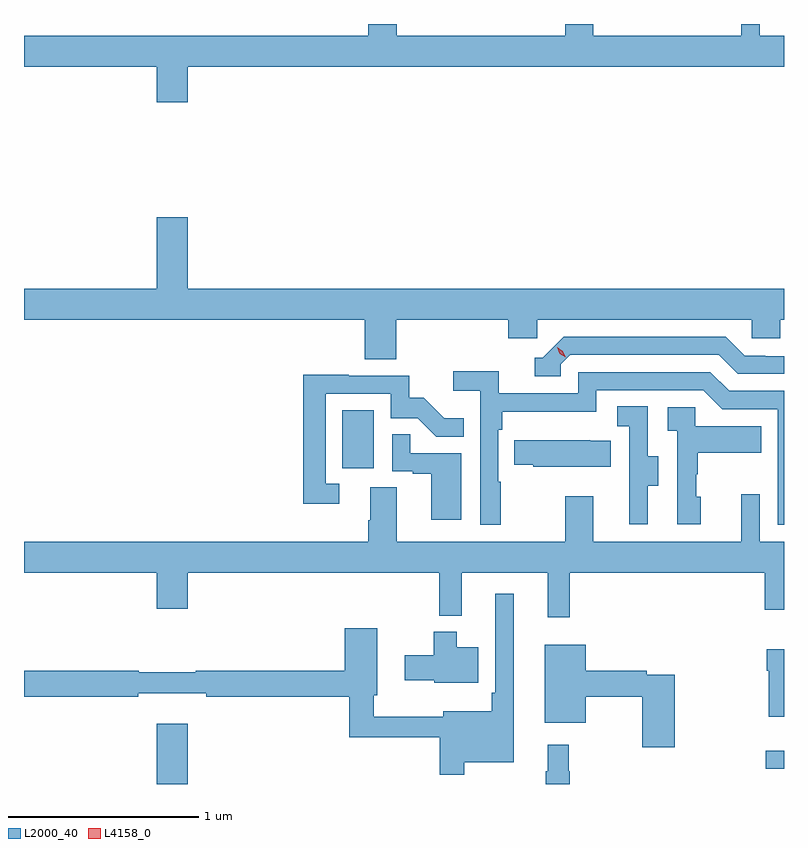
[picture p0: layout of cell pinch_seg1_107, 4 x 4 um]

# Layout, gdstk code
import gdstk
lib = gdstk.Library(unit=1e-6, precision=1e-09)
def R(c, l, rs):  # rectangles x0, y0, x1, y1
    for r in rs: c.add(gdstk.rectangle(r[:2], r[2:], *l))
def P(c, l, *ps):  # polygons
    for p in ps: c.add(gdstk.Polygon(p, *l))
L2000_40 = (2000, 40)
L4158_0 = (4158, 0)

pinch_seg1_107 = lib.new_cell('pinch_seg1_107')
R(pinch_seg1_107, L2000_40, [(1052.12,559.945,1052.284,560.263), (1055.325,560.024,1055.422,560.121), (1053.098,561.606,1053.262,561.913)])
P(pinch_seg1_107, L2000_40, [(1052.284,563.72),(1055.422,563.72),(1055.422,563.884),(1055.295,563.884),(1055.295,563.945),(1055.198,563.945),(1055.198,563.884),(1054.417,563.884),(1054.417,563.945),(1054.27,563.945),(1054.27,563.884),(1053.385,563.884),(1053.385,563.945),(1053.233,563.945),(1053.233,563.884),(1051.422,563.884),(1051.422,563.72),(1052.12,563.72),(1052.12,563.532),(1052.284,563.532)],
  [(1053.38,562.388),(1053.971,562.388),(1053.971,562.29),(1054.122,562.29),(1054.122,562.388),(1055.253,562.388),(1055.253,562.29),(1055.403,562.29),(1055.403,562.388),(1055.422,562.388),(1055.422,562.552),(1052.284,562.552),(1052.284,562.927),(1052.12,562.927),(1052.12,562.552),(1051.422,562.552),(1051.422,562.388),(1053.215,562.388),(1053.215,562.18),(1053.38,562.18)],
  [(1054.248,562.155),(1054.296,562.203),(1055.079,562.203),(1055.178,562.104),(1055.422,562.104),(1055.422,562.197),(1055.322,562.197),(1055.322,562.2),(1055.215,562.2),(1055.116,562.299),(1054.263,562.299),(1054.152,562.188),(1054.109,562.188),(1054.109,562.092),(1054.248,562.092)],
  [(1053.931,561.536),(1053.918,561.536),(1053.918,561.809),(1053.938,561.809),(1053.938,561.905),(1054.434,561.905),(1054.434,562.017),(1054.998,562.017),(1055.097,561.918),(1055.388,561.918),(1055.388,561.309),(1055.422,561.309),(1055.422,562.014),(1055.134,562.014),(1055.035,562.113),(1054.338,562.113),(1054.338,562.002),(1053.92,562.002),(1053.92,562.118),(1053.681,562.118),(1053.681,562.016),(1053.822,562.016),(1053.822,561.309),(1053.931,561.309)],
  [(1053.082,561.525),(1053.009,561.525),(1053.009,561.999),(1053.351,561.999),(1053.351,561.87),(1053.495,561.87),(1053.593,561.772),(1053.737,561.772),(1053.737,561.871),(1053.633,561.871),(1053.526,561.978),(1053.45,561.978),(1053.45,562.095),(1053.131,562.095),(1053.131,562.1),(1052.893,562.1),(1052.893,561.42),(1053.082,561.42)],
  [(1054.705,561.514),(1054.759,561.514),(1054.759,561.669),(1054.704,561.669),(1054.704,561.932),(1054.545,561.932),(1054.545,561.829),(1054.608,561.829),(1054.608,561.525),(1054.607,561.525),(1054.607,561.312),(1054.705,561.312)],
  [(1054.984,561.456),(1054.959,561.456),(1054.959,561.575),(1054.969,561.575),(1054.969,561.689),(1055.303,561.689),(1055.303,561.829),(1054.956,561.829),(1054.956,561.927),(1054.809,561.927),(1054.809,561.803),(1054.86,561.803),(1054.86,561.312),(1054.984,561.312)],
  [(1053.724,561.687),(1053.455,561.687),(1053.455,561.785),(1053.36,561.785),(1053.36,561.591),(1053.467,561.591),(1053.467,561.579),(1053.566,561.579),(1053.566,561.336),(1053.724,561.336)],
  [(1054.511,561.751),(1054.403,561.751),(1054.403,561.754),(1054.003,561.754),(1054.003,561.625),(1054.101,561.625),(1054.101,561.614),(1054.511,561.614)],
  [(1054.295,561.056),(1055.321,561.056),(1055.321,560.862),(1055.422,560.862),(1055.422,561.22),(1055.295,561.22),(1055.295,561.469),(1055.198,561.469),(1055.198,561.22),(1054.417,561.22),(1054.417,561.46),(1054.27,561.46),(1054.27,561.22),(1053.385,561.22),(1053.385,561.506),(1053.245,561.506),(1053.245,561.332),(1053.233,561.332),(1053.233,561.22),(1051.422,561.22),(1051.422,561.056),(1052.12,561.056),(1052.12,560.868),(1052.284,560.868),(1052.284,561.056),(1053.607,561.056),(1053.607,560.831),(1053.725,560.831),(1053.725,561.056),(1054.178,561.056),(1054.178,560.823),(1054.295,560.823)],
  [(1053.739,560.06),(1054,560.06),(1054,560.947),(1053.903,560.947),(1053.903,560.425),(1053.883,560.425),(1053.883,560.329),(1053.629,560.329),(1053.629,560.3),(1053.262,560.3),(1053.262,560.411),(1053.28,560.411),(1053.28,560.764),(1053.11,560.764),(1053.11,560.54),(1052.326,560.54),(1052.326,560.533),(1052.026,560.533),(1052.026,560.54),(1051.422,560.54),(1051.422,560.404),(1052.024,560.404),(1052.024,560.423),(1052.38,560.423),(1052.38,560.404),(1053.133,560.404),(1053.133,560.19),(1053.61,560.19),(1053.61,559.995),(1053.739,559.995)],
  [(1053.814,560.665),(1053.7,560.665),(1053.7,560.746),(1053.578,560.746),(1053.578,560.622),(1053.426,560.622),(1053.426,560.492),(1053.582,560.492),(1053.582,560.477),(1053.814,560.477)],
  [(1054.847,560.52),(1054.7,560.52),(1054.7,560.54),(1054.378,560.54),(1054.378,560.677),(1054.163,560.677),(1054.163,560.267),(1054.378,560.267),(1054.378,560.404),(1054.676,560.404),(1054.676,560.139),(1054.847,560.139)],
  [(1055.422,560.653),(1055.33,560.653),(1055.33,560.54),(1055.342,560.54),(1055.342,560.3),(1055.422,560.3)],
  [(1054.295,560.012),(1054.288,560.012),(1054.288,560.152),(1054.178,560.152),(1054.178,560.012),(1054.167,560.012),(1054.167,559.945),(1054.295,559.945)])
P(pinch_seg1_107, L4158_0, [(1054.273,562.19),(1054.243,562.21),(1054.228,562.243),(1054.228,562.244),(1054.228,562.244),(1054.258,562.223),(1054.274,562.19),(1054.274,562.19)])

lib.write_gds('pinch_seg1_107.gds')
